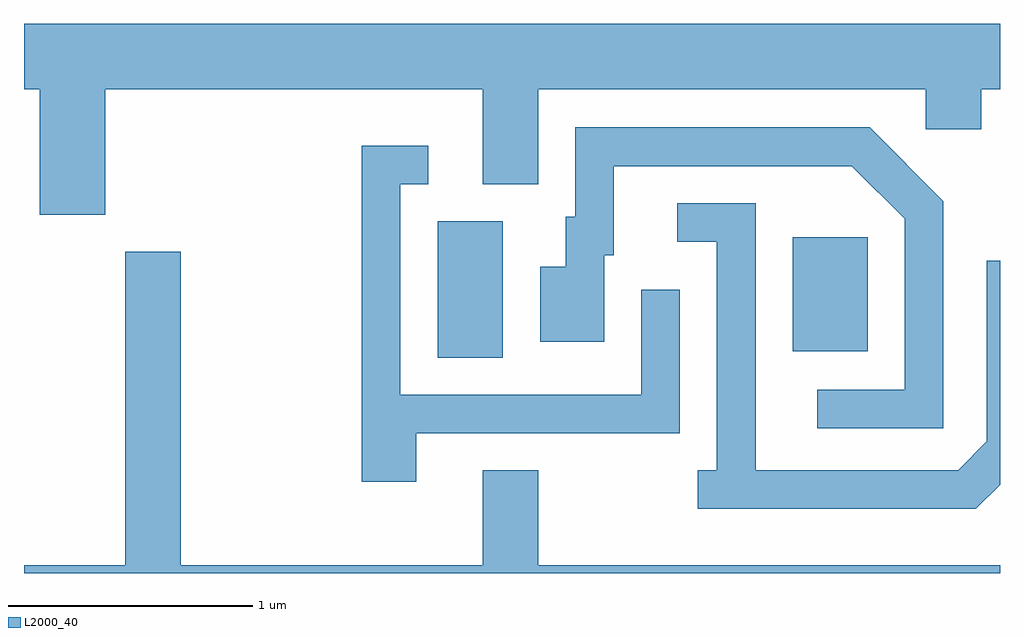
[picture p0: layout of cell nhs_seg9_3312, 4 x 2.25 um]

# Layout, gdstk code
import gdstk
lib = gdstk.Library(unit=1e-6, precision=1e-09)
def R(c, l, rs):  # rectangles x0, y0, x1, y1
    for r in rs: c.add(gdstk.rectangle(r[:2], r[2:], *l))
def P(c, l, *ps):  # polygons
    for p in ps: c.add(gdstk.Polygon(p, *l))
L2000_40 = (2000, 40)

nhs_seg9_3312 = lib.new_cell('nhs_seg9_3312')
R(nhs_seg9_3312, L2000_40, [(283.306,2057.316,283.574,2057.874), (284.761,2057.341,285.069,2057.809)])
P(nhs_seg9_3312, L2000_40, [(281.944,2058.416),(283.491,2058.416),(283.491,2058.026),(283.719,2058.026),(283.719,2058.416),(285.306,2058.416),(285.306,2058.251),(285.534,2058.251),(285.534,2058.416),(285.611,2058.416),(285.611,2058.684),(281.611,2058.684),(281.611,2058.416),(281.676,2058.416),(281.676,2057.901),(281.944,2057.901)],
  [(285.379,2057.957),(285.077,2058.259),(283.871,2058.259),(283.871,2057.894),(283.831,2057.894),(283.831,2057.689),(283.726,2057.689),(283.726,2057.381),(283.989,2057.381),(283.989,2057.736),(284.029,2057.736),(284.029,2058.101),(285.004,2058.101),(285.221,2057.884),(285.221,2057.184),(284.863,2057.184),(284.863,2057.026),(285.379,2057.026)],
  [(283.219,2057.006),(284.299,2057.006),(284.299,2057.593),(284.141,2057.593),(284.141,2057.164),(283.154,2057.164),(283.154,2058.026),(283.268,2058.026),(283.268,2058.184),(282.996,2058.184),(282.996,2056.806),(283.219,2056.806)],
  [(285.611,2056.795),(285.611,2057.713),(285.556,2057.713),(285.556,2056.972),(285.439,2056.854),(284.609,2056.854),(284.609,2057.949),(284.288,2057.949),(284.288,2057.791),(284.451,2057.791),(284.451,2056.854),(284.373,2056.854),(284.373,2056.696),(285.512,2056.696)],
  [(285.611,2056.464),(283.719,2056.464),(283.719,2056.854),(283.491,2056.854),(283.491,2056.464),(282.254,2056.464),(282.254,2057.749),(282.026,2057.749),(282.026,2056.464),(281.611,2056.464),(281.611,2056.432),(285.611,2056.432)])

lib.write_gds('nhs_seg9_3312.gds')
